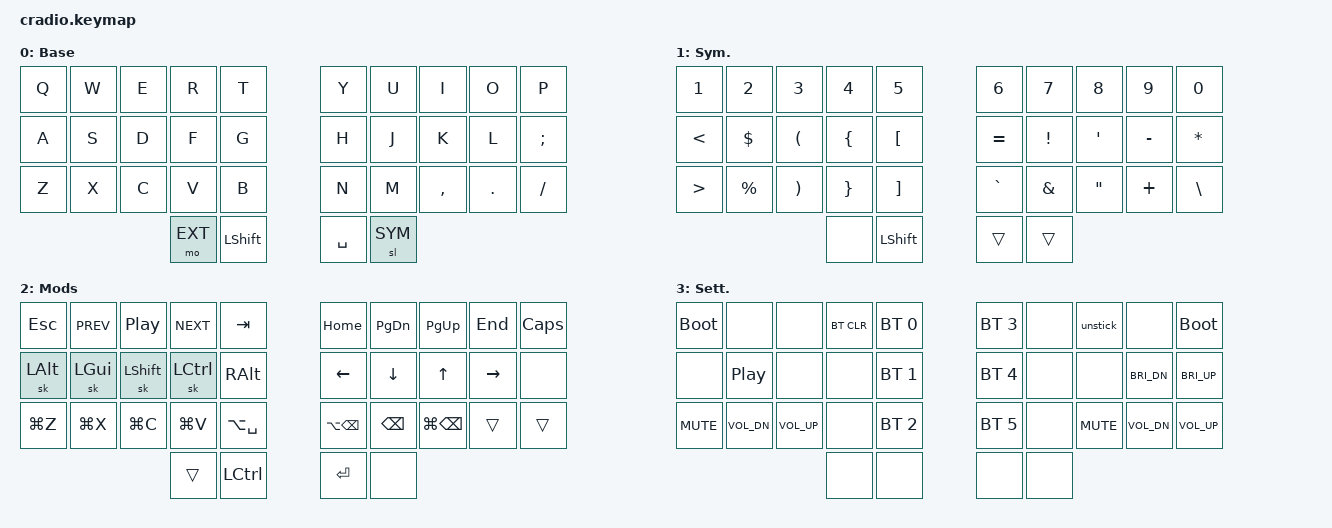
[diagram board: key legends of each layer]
/*
 * Copyright (c) 2020 duckyb
 *
 * SPDX-License-Identifier: MIT
 */

#include <behaviors.dtsi>
#include <dt-bindings/zmk/keys.h>
#include <dt-bindings/zmk/bt.h>
#include <dt-bindings/zmk/outputs.h>

// Layer definitions
#define BASE 0
#define SYM 1
#define EXT 2
//#define FNC 3
//#define SYM2 4
//#define ACCENT 5 
#define SETTINGS 3
// -----------------

&sk {
	// don't release mods on other mods presses
	ignore-modifiers;
};


/ {
	behaviors {
		// Enables holding the first mod-tap key
		// by performing a tap-release-hold sequence.
		// To use it: "&qt KEYCODE1 KEYCODE2"
		qt: quick_tap {
			compatible = "zmk,behavior-hold-tap";
			label = "QUICK_TAP";
			#binding-cells = <2>;
			flavor = "hold-preferred";
			tapping-term-ms = <200>;
			quick-tap-ms = <200>;
			bindings = <&kp>, <&kp>;
		};
	};

	macros {
		// sometimes my device thinks a modifier is being held down
		// pressing all modifiers fixes it.
		unstick: unstick {
			label = "ZM_unstick";
			compatible = "zmk,behavior-macro";
			#binding-cells = <0>;
			bindings = <&kp LSHIFT &kp RSHIFT &kp LCTRL &kp RCTRL &kp LALT &kp RALT &kp LGUI &kp RGUI>;
		};
	};

	combos {
		compatible = "zmk,combos";
		// both right thumb keys
		/*combo_accent {
			timeout-ms = <200>;
			key-positions = <32 33>;
			bindings = <&mo ACCENT>;
		};*/
		// internal-left & external-right thumb keys
		/*combo_sym2 {
			timeout-ms = <200>;
			key-positions = <31 33>;
			bindings = <&mo SYM2>;
		};*/
		// both left thumb keys
		combo_settings {
			timeout-ms = <200>;
			key-positions = <30 31>;
			bindings = <&mo SETTINGS>;
		};
		// left index & middle fingers (home-row)
		// hold control & space for Adobe workflow
		//combo_ctrl_space {
		//	timeout-ms = <200>;
		//	key-positions = <12 13>;
		//	bindings = <&kp LC(SPACE)>;
		//	layers = <BASE>;
		//};
	};

	keymap {
		compatible = "zmk,keymap";
		// Base alpha layer
		default_layer {
			label = "Base";
			bindings = <
			&kp Q &kp W &kp E &kp R &kp T           &kp Y &kp U  &kp I     &kp O   &kp P
			&kp A &kp S &kp D &kp F &kp G           &kp H &kp J  &kp K     &kp L &kp SEMI
			&kp Z &kp X &kp C &kp V &kp B           &kp N &kp M  &kp COMMA &kp DOT &kp FSLH
							&mo EXT &kp LSHIFT                &kp SPACE &sl SYM
			>;
		};

		// Numbers and high frequency symbols
		sym_layer {
			label = "Sym.";
			bindings = <
			&kp N1 &kp N2 &kp N3 &kp N4 &kp N5		                                    &kp N6 &kp N7 &kp N8 &kp N9 &kp N0
			&kp LT &kp DOLLAR &kp LPAR &kp LBRC &kp LBKT  &kp EQUAL &kp EXCL &kp SQT &kp MINUS &kp STAR 
			&kp GT &kp PERCENT &kp RPAR &kp RBRC &kp RBKT 	&kp GRAVE &kp AMPS &kp DQT &kp PLUS &kp BACKSLASH
														&none &kp LSHIFT        &trans &trans
			>;
		};

		// Main modifiers and arrow keys
		ext_layer {
			label = "Mods";
			bindings = <
			&kp ESC  &kp C_PREV &kp C_PP  &kp C_NEXT  &kp TAB   	&kp HOME &kp PG_DN &kp PG_UP &kp END &kp CAPS
			&sk LALT &sk LGUI  &sk LSHIFT  &sk LCTRL  &kp RALT 			&kp LEFT &kp DOWN  &kp UP  &kp RIGHT   &none
			&kp LG(Z)  &kp LG(X) &kp LG(C) &kp LG(V)   &kp LA(SPACE)          &kp LA(BSPC) &kp BSPC &kp LG(BSPC) &trans  &trans
																		&trans &kp LCTRL    &kp ENTER  &none
			>;
		};

		// Function keys with modifiers
		/*fnc_layer {
			label = "FRow";
			bindings = <
			&kp F1 &kp F2 &kp F3 &kp F4 &kp F5                  &kp F6 &kp F7 &kp F8 &kp F9 &kp F10
			&sk LALT &sk LGUI &sk LSHIFT &sk LCTRL &kp RALT     &kp F11 &kp F12  &kp PRINTSCREEN &trans &trans
			&none &none &none &none &none    &none &none &none &none &none
							  &none &none              &none &none
			>;
		};

		// Low frequency symbols.
		/*symbols_2_layer {
			label = "Sym.2";
			bindings = <
			&kp IT_CARET &kp IT_UNDER &kp IT_PND &kp IT_EUR &kp IT_HASH         &none &none &none &none &none
			&kp IT_BKTK &kp IT_TILDE &kp IT_BSLH &kp IT_PIPE &kp IT_AND         &none &none &none &none &none
			&none 			&none 			 &kp IT_SECT &kp IT_CCED &kp IT_DEG				  &none &none &none &none &none
																	&none &none        	&none &none
			>;
		};*/

		// Used to type regional accents.
		/*accent_layer {
			label = "Accent";
			bindings = <
			&none &none &none &kp IT_CEGR &none                         &none &none &none &none &none
			&kp IT_AGRV &kp IT_IGRV &kp IT_OGRV &kp IT_EGRV &kp IT_EACU &none &none &none &none &none
			&none &none &none &kp IT_UGRV &none                         &none &none &none &none &none
									&none &none                         &none &none
			>;
		};*/

		// Used to change the keyboard's settings.
		settings_layer {
				label = "Sett.";
				bindings = <
				&bootloader &none &none &bt BT_CLR &bt BT_SEL 0               &bt BT_SEL 3 &none &unstick &none &bootloader
				&none &kp C_PLAY_PAUSE &none &none &bt BT_SEL 1 						  &bt BT_SEL 4 &none &none &kp C_BRI_DN &kp C_BRI_UP
				&kp C_MUTE &kp C_VOL_DN &kp C_VOL_UP &none &bt BT_SEL 2      &bt BT_SEL 5 &none &kp C_MUTE &kp C_VOL_DN &kp C_VOL_UP
										&none &none                         &none &none
				>;
		};
	};
};
